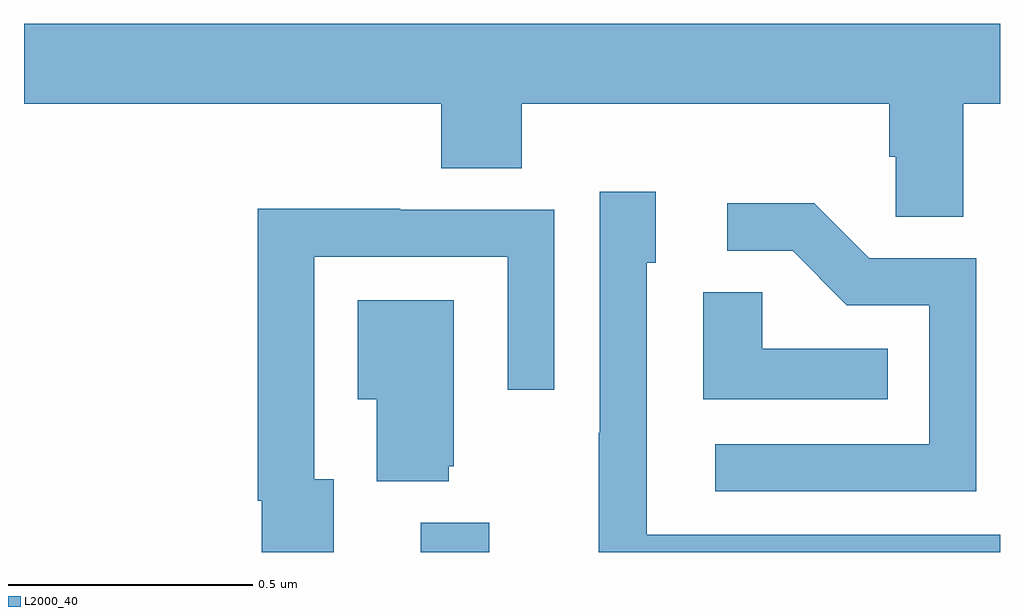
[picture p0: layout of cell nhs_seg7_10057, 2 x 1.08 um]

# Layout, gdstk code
import gdstk
lib = gdstk.Library(unit=1e-6, precision=1e-09)
def R(c, l, rs):  # rectangles x0, y0, x1, y1
    for r in rs: c.add(gdstk.rectangle(r[:2], r[2:], *l))
def P(c, l, *ps):  # polygons
    for p in ps: c.add(gdstk.Polygon(p, *l))
L2000_40 = (2000, 40)

nhs_seg7_10057 = lib.new_cell('nhs_seg7_10057')
R(nhs_seg7_10057, L2000_40, [(245.813,1029,245.953,1029.061)])
P(nhs_seg7_10057, L2000_40, [(246.925,1029.92),(247,1029.92),(247,1030.084),(245,1030.084),(245,1029.92),(245.855,1029.92),(245.855,1029.787),(246.02,1029.787),(246.02,1029.92),(246.773,1029.92),(246.773,1029.811),(246.786,1029.811),(246.786,1029.688),(246.925,1029.688)],
  [(247,1029.036),(246.276,1029.036),(246.276,1029.594),(246.295,1029.594),(246.295,1029.739),(246.18,1029.739),(246.18,1029.245),(246.178,1029.245),(246.178,1029),(247,1029)],
  [(246.951,1029.603),(246.732,1029.603),(246.619,1029.716),(246.441,1029.716),(246.441,1029.618),(246.575,1029.618),(246.686,1029.507),(246.855,1029.507),(246.855,1029.222),(246.417,1029.222),(246.417,1029.126),(246.951,1029.126)],
  [(245.635,1029.15),(245.595,1029.15),(245.595,1029.606),(245.991,1029.606),(245.991,1029.333),(246.087,1029.333),(246.087,1029.702),(245.771,1029.702),(245.771,1029.704),(245.479,1029.704),(245.479,1029.106),(245.487,1029.106),(245.487,1029),(245.635,1029)],
  [(246.77,1029.418),(246.513,1029.418),(246.513,1029.533),(246.392,1029.533),(246.392,1029.314),(246.77,1029.314)],
  [(245.87,1029.177),(245.881,1029.177),(245.881,1029.517),(245.684,1029.517),(245.684,1029.314),(245.723,1029.314),(245.723,1029.146),(245.87,1029.146)])

lib.write_gds('nhs_seg7_10057.gds')
